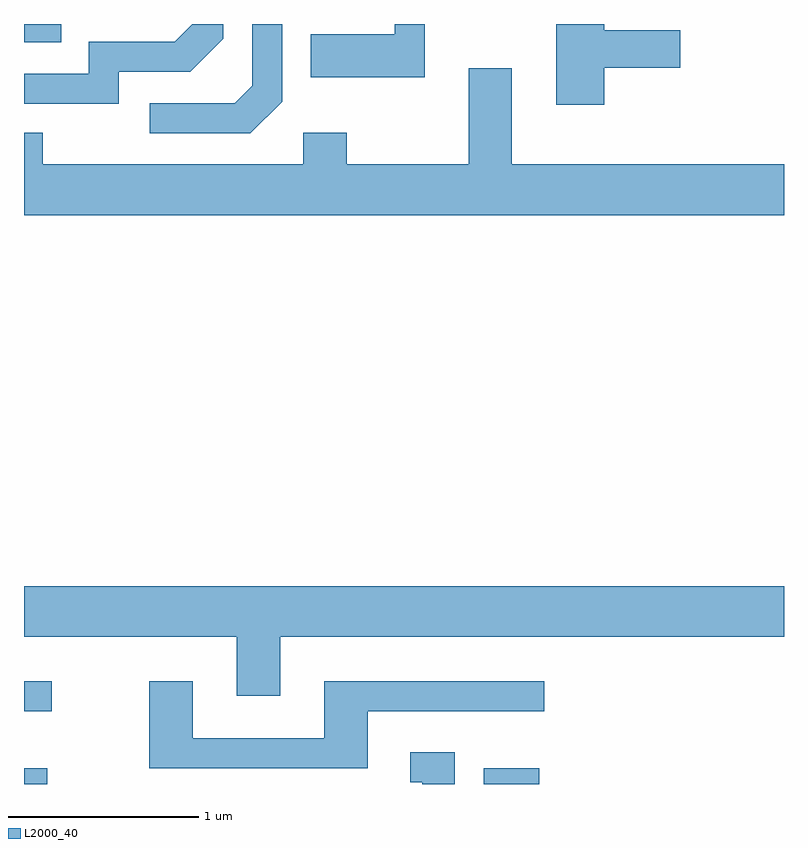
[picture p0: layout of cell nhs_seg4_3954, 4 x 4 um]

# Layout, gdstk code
import gdstk
lib = gdstk.Library(unit=1e-6, precision=1e-09)
def R(c, l, rs):  # rectangles x0, y0, x1, y1
    for r in rs: c.add(gdstk.rectangle(r[:2], r[2:], *l))
def P(c, l, *ps):  # polygons
    for p in ps: c.add(gdstk.Polygon(p, *l))
L2000_40 = (2000, 40)

nhs_seg4_3954 = lib.new_cell('nhs_seg4_3954')
R(nhs_seg4_3954, L2000_40, [(301.611,1273.982,301.734,1274.064), (304.031,1273.982,304.324,1274.064), (301.611,1274.366,301.758,1274.524), (301.611,1277.886,301.808,1277.982)])
P(nhs_seg4_3954, L2000_40, [(304.664,1277.751),(305.064,1277.751),(305.064,1277.949),(304.664,1277.949),(304.664,1277.982),(304.411,1277.982),(304.411,1277.556),(304.664,1277.556)],
  [(302.109,1277.731),(302.487,1277.731),(302.659,1277.904),(302.659,1277.982),(302.496,1277.982),(302.404,1277.889),(301.951,1277.889),(301.951,1277.719),(301.611,1277.719),(301.611,1277.561),(302.109,1277.561)],
  [(303.719,1277.982),(303.561,1277.982),(303.561,1277.929),(303.121,1277.929),(303.121,1277.701),(303.719,1277.701)],
  [(302.969,1277.574),(302.969,1277.982),(302.811,1277.982),(302.811,1277.657),(302.719,1277.564),(302.273,1277.564),(302.273,1277.406),(302.802,1277.406)],
  [(305.611,1277.244),(304.179,1277.244),(304.179,1277.749),(303.951,1277.749),(303.951,1277.244),(303.309,1277.244),(303.309,1277.409),(303.081,1277.409),(303.081,1277.244),(301.709,1277.244),(301.709,1277.409),(301.611,1277.409),(301.611,1276.976),(305.611,1276.976)],
  [(302.959,1274.756),(305.611,1274.756),(305.611,1275.024),(301.611,1275.024),(301.611,1274.756),(302.731,1274.756),(302.731,1274.446),(302.959,1274.446)],
  [(303.419,1274.366),(304.348,1274.366),(304.348,1274.524),(303.191,1274.524),(303.191,1274.224),(302.499,1274.224),(302.499,1274.524),(302.271,1274.524),(302.271,1274.066),(303.419,1274.066)],
  [(303.879,1274.149),(303.643,1274.149),(303.643,1273.991),(303.706,1273.991),(303.706,1273.982),(303.879,1273.982)])

lib.write_gds('nhs_seg4_3954.gds')
